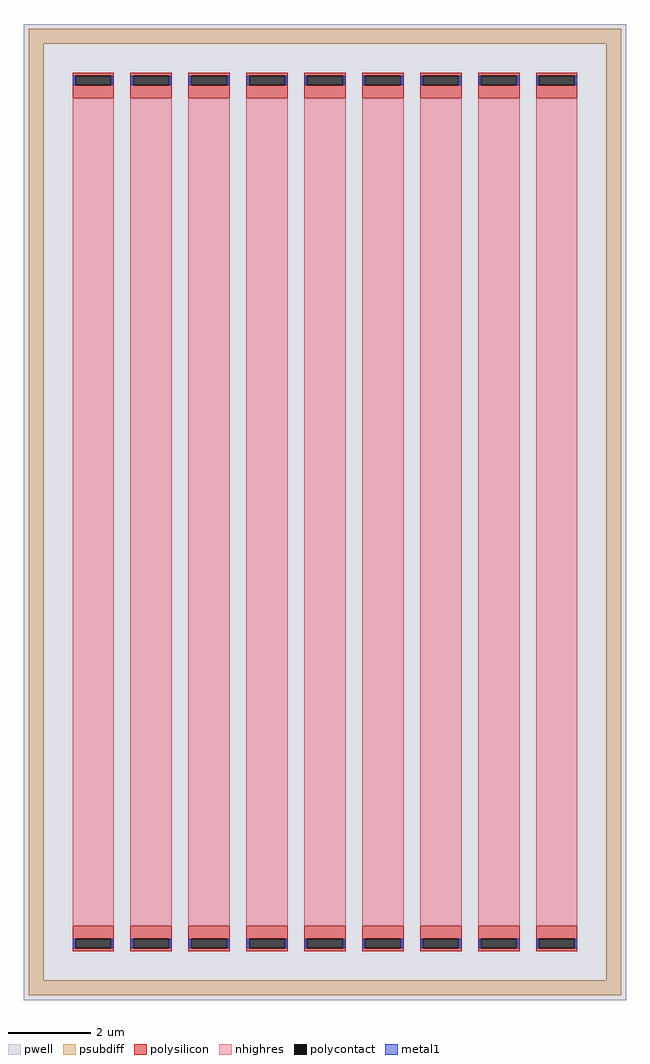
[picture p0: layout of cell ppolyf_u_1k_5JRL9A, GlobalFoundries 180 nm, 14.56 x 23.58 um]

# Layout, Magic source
magic
tech gf180mcuD
magscale 1 10
<< pwell >>
rect -1456 -2358 1456 2358
<< psubdiff >>
rect -1432 2262 1432 2334
rect -1432 -2262 -1360 2262
rect 1360 -2262 1432 2262
rect -1432 -2334 1432 -2262
<< polysilicon >>
rect -1220 2109 -1020 2122
rect -1220 2063 -1207 2109
rect -1033 2063 -1020 2109
rect -1220 2000 -1020 2063
rect -1220 -2063 -1020 -2000
rect -1220 -2109 -1207 -2063
rect -1033 -2109 -1020 -2063
rect -1220 -2122 -1020 -2109
rect -940 2109 -740 2122
rect -940 2063 -927 2109
rect -753 2063 -740 2109
rect -940 2000 -740 2063
rect -940 -2063 -740 -2000
rect -940 -2109 -927 -2063
rect -753 -2109 -740 -2063
rect -940 -2122 -740 -2109
rect -660 2109 -460 2122
rect -660 2063 -647 2109
rect -473 2063 -460 2109
rect -660 2000 -460 2063
rect -660 -2063 -460 -2000
rect -660 -2109 -647 -2063
rect -473 -2109 -460 -2063
rect -660 -2122 -460 -2109
rect -380 2109 -180 2122
rect -380 2063 -367 2109
rect -193 2063 -180 2109
rect -380 2000 -180 2063
rect -380 -2063 -180 -2000
rect -380 -2109 -367 -2063
rect -193 -2109 -180 -2063
rect -380 -2122 -180 -2109
rect -100 2109 100 2122
rect -100 2063 -87 2109
rect 87 2063 100 2109
rect -100 2000 100 2063
rect -100 -2063 100 -2000
rect -100 -2109 -87 -2063
rect 87 -2109 100 -2063
rect -100 -2122 100 -2109
rect 180 2109 380 2122
rect 180 2063 193 2109
rect 367 2063 380 2109
rect 180 2000 380 2063
rect 180 -2063 380 -2000
rect 180 -2109 193 -2063
rect 367 -2109 380 -2063
rect 180 -2122 380 -2109
rect 460 2109 660 2122
rect 460 2063 473 2109
rect 647 2063 660 2109
rect 460 2000 660 2063
rect 460 -2063 660 -2000
rect 460 -2109 473 -2063
rect 647 -2109 660 -2063
rect 460 -2122 660 -2109
rect 740 2109 940 2122
rect 740 2063 753 2109
rect 927 2063 940 2109
rect 740 2000 940 2063
rect 740 -2063 940 -2000
rect 740 -2109 753 -2063
rect 927 -2109 940 -2063
rect 740 -2122 940 -2109
rect 1020 2109 1220 2122
rect 1020 2063 1033 2109
rect 1207 2063 1220 2109
rect 1020 2000 1220 2063
rect 1020 -2063 1220 -2000
rect 1020 -2109 1033 -2063
rect 1207 -2109 1220 -2063
rect 1020 -2122 1220 -2109
<< polycontact >>
rect -1207 2063 -1033 2109
rect -1207 -2109 -1033 -2063
rect -927 2063 -753 2109
rect -927 -2109 -753 -2063
rect -647 2063 -473 2109
rect -647 -2109 -473 -2063
rect -367 2063 -193 2109
rect -367 -2109 -193 -2063
rect -87 2063 87 2109
rect -87 -2109 87 -2063
rect 193 2063 367 2109
rect 193 -2109 367 -2063
rect 473 2063 647 2109
rect 473 -2109 647 -2063
rect 753 2063 927 2109
rect 753 -2109 927 -2063
rect 1033 2063 1207 2109
rect 1033 -2109 1207 -2063
<< nhighres >>
rect -1220 -2000 -1020 2000
rect -940 -2000 -740 2000
rect -660 -2000 -460 2000
rect -380 -2000 -180 2000
rect -100 -2000 100 2000
rect 180 -2000 380 2000
rect 460 -2000 660 2000
rect 740 -2000 940 2000
rect 1020 -2000 1220 2000
<< metal1 >>
rect -1218 2063 -1207 2109
rect -1033 2063 -1022 2109
rect -938 2063 -927 2109
rect -753 2063 -742 2109
rect -658 2063 -647 2109
rect -473 2063 -462 2109
rect -378 2063 -367 2109
rect -193 2063 -182 2109
rect -98 2063 -87 2109
rect 87 2063 98 2109
rect 182 2063 193 2109
rect 367 2063 378 2109
rect 462 2063 473 2109
rect 647 2063 658 2109
rect 742 2063 753 2109
rect 927 2063 938 2109
rect 1022 2063 1033 2109
rect 1207 2063 1218 2109
rect -1218 -2109 -1207 -2063
rect -1033 -2109 -1022 -2063
rect -938 -2109 -927 -2063
rect -753 -2109 -742 -2063
rect -658 -2109 -647 -2063
rect -473 -2109 -462 -2063
rect -378 -2109 -367 -2063
rect -193 -2109 -182 -2063
rect -98 -2109 -87 -2063
rect 87 -2109 98 -2063
rect 182 -2109 193 -2063
rect 367 -2109 378 -2063
rect 462 -2109 473 -2063
rect 647 -2109 658 -2063
rect 742 -2109 753 -2063
rect 927 -2109 938 -2063
rect 1022 -2109 1033 -2063
rect 1207 -2109 1218 -2063
<< properties >>
string FIXED_BBOX -1396 -2298 1396 2298
string gencell ppolyf_u_1k
string library gf180mcu
string parameters w 1.000 l 20.000 m 1 nx 9 wmin 1.000 lmin 1.000 class resistor rho 1000 val 20.0k dummy 0 dw 0.0 term 0.0 sterm 0.0 caplen 0.4 snake 0 glc 0 grc 0 gtc 0 gbc 0 roverlap 1 endcov 100 full_metal 0 compatible {ppolyf_u_1k ppolyf_u_1k_6p0}
<< end >>
